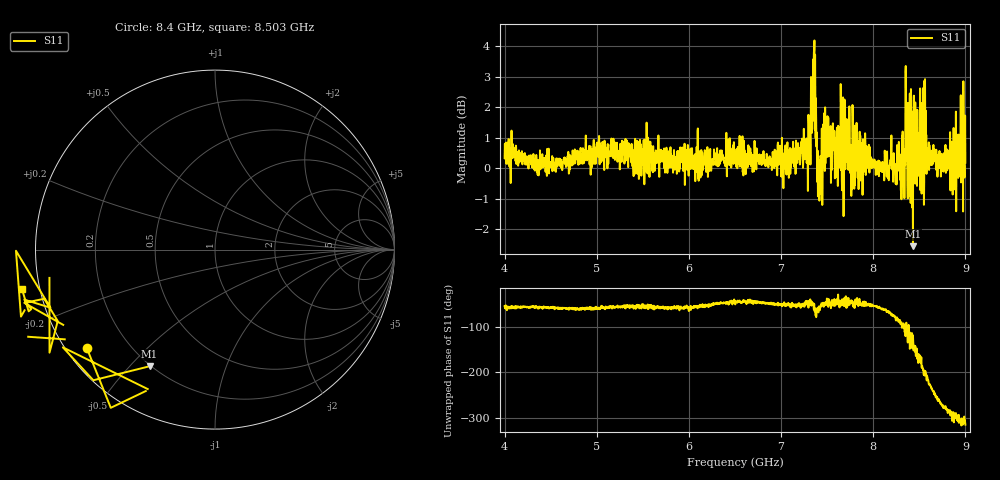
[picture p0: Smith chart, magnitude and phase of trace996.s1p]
! Created with skrf 1.8.0 (http://scikit-rf.org).
# Hz S RI R 50.0
!freq ReS11 ImS11
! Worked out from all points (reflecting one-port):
!   1601 points, 4 GHz to 9 GHz, reference 50 ohm
!   lowest |S11| = -2.6 dB at 8.431 GHz (marker M1), VSWR 6.85, Z = 9.73 - j28.5 ohm
!   phase of S11 starts at -55 deg and turns -260 deg over the sweep
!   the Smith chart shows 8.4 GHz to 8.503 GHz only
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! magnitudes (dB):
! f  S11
! 4 GHz  0.3
! 4.625 GHz  -0.1
! 5.25 GHz  0.0
! 5.875 GHz  0.6
! 6.5 GHz  0.5
! 7.125 GHz  0.6
! 7.294 GHz  0.6
! 7.347 GHz  3.6
! 7.372 GHz  2.4
! 7.4 GHz  -0.9
! 7.412 GHz  -0.1
! 7.512 GHz  1.7
! 7.609 GHz  0.8
! 7.691 GHz  1.8
! 7.75 GHz  -0.1
! 8.231 GHz  -0.1
! 8.316 GHz  0.4
! 8.338 GHz  -1.0
! 8.375 GHz  -1.0
! 8.406 GHz  -1.1
! 8.431 GHz  -2.6
! 8.447 GHz  2.1
! 8.459 GHz  -0.5
! 8.544 GHz  1.2
! 8.603 GHz  0.9
! 8.722 GHz  0.0
! 8.972 GHz  0.5
! 9 GHz  0.2
